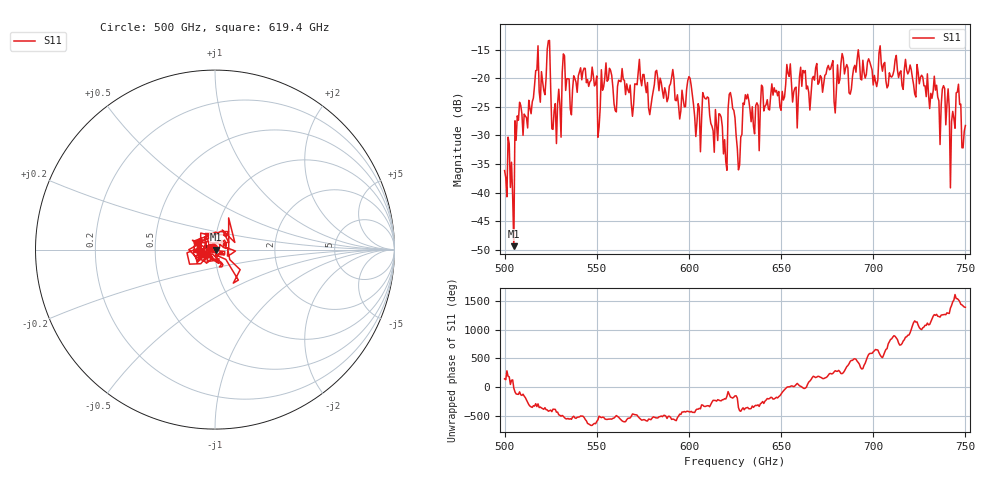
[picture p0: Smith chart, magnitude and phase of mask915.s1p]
!Created with skrf (http://scikit-rf.org).
# GHz S MA R 50.0
!freq magS11 angS11
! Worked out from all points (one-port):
!   401 points, 500 GHz to 750 GHz, reference 50 ohm
!   lowest |S11| = -49.4 dB at 505 GHz (marker M1), VSWR 1.01, Z = 50.3 - j0.116 ohm
!   |S11| at or under -10 dB: start of sweep to end of sweep
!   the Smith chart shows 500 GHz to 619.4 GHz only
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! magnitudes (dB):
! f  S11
! 500 GHz  -36.2
! 505 GHz  -49.4
! 506.9 GHz  -26.6
! 516.9 GHz  -18.7
! 523.8 GHz  -13.4
! 526.9 GHz  -25.7
! 531.2 GHz  -19.0
! 542.5 GHz  -18.8
! 551.9 GHz  -25.2
! 553.8 GHz  -21.5
! 562.5 GHz  -20.5
! 593.8 GHz  -22.9
! 600 GHz  -19.7
! 605 GHz  -24.5
! 609.4 GHz  -23.6
! 619.4 GHz  -30.7
! 622.5 GHz  -22.5
! 625 GHz  -26.9
! 627.5 GHz  -35.2
! 630.6 GHz  -22.9
! 636.9 GHz  -24.3
! 656.2 GHz  -24.2
! 687.5 GHz  -22.8
! 718.8 GHz  -19.2
! 739.4 GHz  -28.2
! 743.1 GHz  -25.8
! 746.2 GHz  -21.1
! 750 GHz  -28.3
